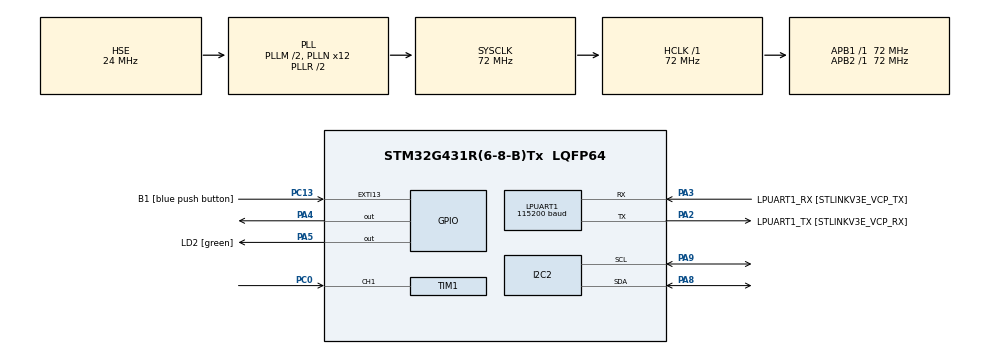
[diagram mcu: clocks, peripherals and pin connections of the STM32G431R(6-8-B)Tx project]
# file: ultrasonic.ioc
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I2C2.Timing=0x10808DD3
LPUART1.BaudRate=115200
LPUART1.WordLength=UART_WORDLENGTH_8B
Mcu.Family=STM32G4
Mcu.Name=STM32G431R(6-8-B)Tx
Mcu.Package=LQFP64
NVIC.PriorityGroup=NVIC_PRIORITYGROUP_4
NVIC.TIM1_CC_IRQn=true\:0\:0\:false\:false\:true\:true\:true\:true
PA10.Signal=I2C2_SMBA
PA13.GPIO_Label=T_SWDIO
PA13.Mode=Serial_Wire
PA13.Signal=SYS_JTMS-SWDIO
PA14.GPIO_Label=T_SWCLK
PA14.Mode=Serial_Wire
PA14.Signal=SYS_JTCK-SWCLK
PA2.GPIO_Label=LPUART1_TX [STLINKV3E_VCP_RX]
PA2.Mode=Asynchronous
PA2.Signal=LPUART1_TX
PA3.GPIO_Label=LPUART1_RX [STLINKV3E_VCP_TX]
PA3.Mode=Asynchronous
PA3.Signal=LPUART1_RX
PA4.Signal=GPIO_Output
PA5.GPIO_Label=LD2 [green]
PA5.Signal=GPIO_Output
PA8.Mode=I2C
PA8.Signal=I2C2_SDA
PA9.Mode=I2C
PA9.Signal=I2C2_SCL
PB3.GPIO_Label=T_SWO
PB3.Signal=SYS_JTDO-SWO
PC0.Signal=S_TIM1_CH1
PC13.GPIO_Label=B1 [blue push button]
PC13.Signal=GPXTI13
PC14-OSC32_IN.Mode=LSE-External-Oscillator
PC14-OSC32_IN.Signal=RCC_OSC32_IN
PC15-OSC32_OUT.Mode=LSE-External-Oscillator
PC15-OSC32_OUT.Signal=RCC_OSC32_OUT
PF0-OSC_IN.Mode=HSE-External-Oscillator
PF0-OSC_IN.Signal=RCC_OSC_IN
PF1-OSC_OUT.Mode=HSE-External-Oscillator
PF1-OSC_OUT.Signal=RCC_OSC_OUT
ProjectManager.HeapSize=0x200
ProjectManager.StackSize=0x400
ProjectManager.TargetToolchain=STM32CubeIDE
RCC.ADC12Freq_Value=72000000
RCC.AHBFreq_Value=72000000
RCC.APB1Freq_Value=72000000
RCC.APB1TimFreq_Value=72000000
RCC.APB2Freq_Value=72000000
RCC.APB2TimFreq_Value=72000000
RCC.CortexFreq_Value=72000000
RCC.EXTERNAL_CLOCK_VALUE=12288000
RCC.HCLKFreq_Value=72000000
RCC.HSE_VALUE=24000000
RCC.HSI48_VALUE=48000000
RCC.HSI_VALUE=16000000
RCC.PLLM=RCC_PLLM_DIV2
RCC.PLLN=12
RCC.PLLSourceVirtual=RCC_PLLSOURCE_HSE
RCC.RTCClockSelection=RCC_RTCCLKSOURCE_LSE
RCC.SYSCLKFreq_VALUE=72000000
RCC.SYSCLKSource=RCC_SYSCLKSOURCE_PLLCLK
RCC.USBFreq_Value=72000000
RCC.VCOOutputFreq_Value=144000000
SH.S_TIM1_CH1.0=TIM1_CH1,Input_Capture1_from_TI1
TIM1.Channel-Input_Capture1_from_TI1=TIM_CHANNEL_1
TIM1.Prescaler=71
VP_SYS_VS_DBSignals.Mode=DisableDeadBatterySignals
VP_TIM1_VS_ClockSourceINT.Mode=Internal
board=NUCLEO-G431RB

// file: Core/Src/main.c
/* USER CODE BEGIN Header */
/**
  ******************************************************************************
  * @file           : main.c
  * @brief          : Main program body
  ******************************************************************************
  * @attention
  *
  * Copyright (c) 2024 STMicroelectronics.
  * All rights reserved.
  *
  * This software is licensed under terms that can be found in the LICENSE file
  * in the root directory of this software component.
  * If no LICENSE file comes with this software, it is provided AS-IS.
  *
  ******************************************************************************
  */
/* USER CODE END Header */
#include "main.h"

I2C_HandleTypeDef hi2c2;

UART_HandleTypeDef hlpuart1;

TIM_HandleTypeDef htim1;

void SystemClock_Config(void);
static void MX_GPIO_Init(void);
static void MX_LPUART1_UART_Init(void);
static void MX_TIM1_Init(void);
static void MX_I2C2_Init(void);
/* USER CODE BEGIN PFP */
void delay (uint16_t time)
{
	__HAL_TIM_SET_COUNTER(&htim1, 0);
	while (__HAL_TIM_GET_COUNTER (&htim1) < time);
}

uint32_t IC_Val1 = 0;
uint32_t IC_Val2 = 0;
uint32_t Difference = 0;
uint8_t Is_First_Captured = 0;  // is the first value captured ?
uint8_t Distance  = 0;

#define TRIG_PIN GPIO_PIN_4
#define TRIG_PORT GPIOA

// Let's write the callback function

void HAL_TIM_IC_CaptureCallback(TIM_HandleTypeDef *htim)
{
	if (htim->Channel == HAL_TIM_ACTIVE_CHANNEL_1)  // if the interrupt source is channel1
	{
		if (Is_First_Captured==0) // if the first value is not captured
		{
			IC_Val1 = HAL_TIM_ReadCapturedValue(htim, TIM_CHANNEL_1); // read the first value
			Is_First_Captured = 1;  // set the first captured as true
			// Now change the polarity to falling edge
			__HAL_TIM_SET_CAPTUREPOLARITY(htim, TIM_CHANNEL_1, TIM_INPUTCHANNELPOLARITY_FALLING);
		}

		else if (Is_First_Captured==1)   // if the first is already captured
		{
			IC_Val2 = HAL_TIM_ReadCapturedValue(htim, TIM_CHANNEL_1);  // read second value
			__HAL_TIM_SET_COUNTER(htim, 0);  // reset the counter

			if (IC_Val2 > IC_Val1)
			{
				Difference = IC_Val2-IC_Val1;
			}

			else if (IC_Val1 > IC_Val2)
			{
				Difference = (0xffff - IC_Val1) + IC_Val2;
			}

			Distance = Difference * .034/2;
			Is_First_Captured = 0; // set it back to false

			// set polarity to rising edge
			__HAL_TIM_SET_CAPTUREPOLARITY(htim, TIM_CHANNEL_1, TIM_INPUTCHANNELPOLARITY_RISING);
			__HAL_TIM_DISABLE_IT(&htim1, TIM_IT_CC1);
		}
	}
}

void HCSR04_Read (void)
{
	HAL_GPIO_WritePin(TRIG_PORT, TRIG_PIN, GPIO_PIN_SET);  // pull the TRIG pin HIGH
	delay(10);  // wait for 10 us
	HAL_GPIO_WritePin(TRIG_PORT, TRIG_PIN, GPIO_PIN_RESET);  // pull the TRIG pin low

	__HAL_TIM_ENABLE_IT(&htim1, TIM_IT_CC1);
}

/* USER CODE END PFP */

int main(void)
{

  /* MCU Configuration--------------------------------------------------------*/

  /* Reset of all peripherals, Initializes the Flash interface and the Systick. */
  HAL_Init();

  /* Configure the system clock */
  SystemClock_Config();

  /* Initialize all configured peripherals */
  MX_GPIO_Init();
  MX_LPUART1_UART_Init();
  MX_TIM1_Init();
  MX_I2C2_Init();
  /* USER CODE BEGIN 2 */
  lcd_init();
   HAL_TIM_IC_Start_IT(&htim1, TIM_CHANNEL_1);

   lcd_send_string ("Dist= ");

  /* USER CODE END 2 */

  /* Infinite loop */
  /* USER CODE BEGIN WHILE */
    while (1)
     {
    	 HCSR04_Read();

    		  lcd_send_data((Distance/100) + 48);   // 100th pos
    		lcd_send_data(((Distance/10)%10) +48);  // 10th pos
    		  lcd_send_data((Distance%10)+48);  // 1st pos
    		  lcd_send_string(" cm");
    		  HAL_Delay(2000);

    /* USER CODE END WHILE */

  }
}

void SystemClock_Config(void)
{
  RCC_OscInitTypeDef RCC_OscInitStruct = {0};
  RCC_ClkInitTypeDef RCC_ClkInitStruct = {0};

  /** Configure the main internal regulator output voltage
  */
  HAL_PWREx_ControlVoltageScaling(PWR_REGULATOR_VOLTAGE_SCALE1);

  /** Initializes the RCC Oscillators according to the specified parameters
  * in the RCC_OscInitTypeDef structure.
  */
  RCC_OscInitStruct.OscillatorType = RCC_OSCILLATORTYPE_HSE;
  RCC_OscInitStruct.HSEState = RCC_HSE_ON;
  RCC_OscInitStruct.PLL.PLLState = RCC_PLL_ON;
  RCC_OscInitStruct.PLL.PLLSource = RCC_PLLSOURCE_HSE;
  RCC_OscInitStruct.PLL.PLLM = RCC_PLLM_DIV2;
  RCC_OscInitStruct.PLL.PLLN = 12;
  RCC_OscInitStruct.PLL.PLLP = RCC_PLLP_DIV2;
  RCC_OscInitStruct.PLL.PLLQ = RCC_PLLQ_DIV2;
  RCC_OscInitStruct.PLL.PLLR = RCC_PLLR_DIV2;
  if (HAL_RCC_OscConfig(&RCC_OscInitStruct) != HAL_OK)
  {
    Error_Handler();
  }

  /** Initializes the CPU, AHB and APB buses clocks
  */
  RCC_ClkInitStruct.ClockType = RCC_CLOCKTYPE_HCLK|RCC_CLOCKTYPE_SYSCLK
                              |RCC_CLOCKTYPE_PCLK1|RCC_CLOCKTYPE_PCLK2;
  RCC_ClkInitStruct.SYSCLKSource = RCC_SYSCLKSOURCE_PLLCLK;
  RCC_ClkInitStruct.AHBCLKDivider = RCC_SYSCLK_DIV1;
  RCC_ClkInitStruct.APB1CLKDivider = RCC_HCLK_DIV1;
  RCC_ClkInitStruct.APB2CLKDivider = RCC_HCLK_DIV1;

  if (HAL_RCC_ClockConfig(&RCC_ClkInitStruct, FLASH_LATENCY_2) != HAL_OK)
  {
    Error_Handler();
  }
}

static void MX_I2C2_Init(void)
{

  hi2c2.Instance = I2C2;
  hi2c2.Init.Timing = 0x10808DD3;
  hi2c2.Init.OwnAddress1 = 0;
  hi2c2.Init.AddressingMode = I2C_ADDRESSINGMODE_7BIT;
  hi2c2.Init.DualAddressMode = I2C_DUALADDRESS_DISABLE;
  hi2c2.Init.OwnAddress2 = 0;
  hi2c2.Init.OwnAddress2Masks = I2C_OA2_NOMASK;
  hi2c2.Init.GeneralCallMode = I2C_GENERALCALL_DISABLE;
  hi2c2.Init.NoStretchMode = I2C_NOSTRETCH_DISABLE;
  if (HAL_I2C_Init(&hi2c2) != HAL_OK)
  {
    Error_Handler();
  }

  /** Configure Analogue filter
  */
  if (HAL_I2CEx_ConfigAnalogFilter(&hi2c2, I2C_ANALOGFILTER_ENABLE) != HAL_OK)
  {
    Error_Handler();
  }

  /** Configure Digital filter
  */
  if (HAL_I2CEx_ConfigDigitalFilter(&hi2c2, 0) != HAL_OK)
  {
    Error_Handler();
  }

}

static void MX_LPUART1_UART_Init(void)
{

  hlpuart1.Instance = LPUART1;
  hlpuart1.Init.BaudRate = 115200;
  hlpuart1.Init.WordLength = UART_WORDLENGTH_8B;
  hlpuart1.Init.StopBits = UART_STOPBITS_1;
  hlpuart1.Init.Parity = UART_PARITY_NONE;
  hlpuart1.Init.Mode = UART_MODE_TX_RX;
  hlpuart1.Init.HwFlowCtl = UART_HWCONTROL_NONE;
  hlpuart1.Init.OneBitSampling = UART_ONE_BIT_SAMPLE_DISABLE;
  hlpuart1.Init.ClockPrescaler = UART_PRESCALER_DIV1;
  hlpuart1.AdvancedInit.AdvFeatureInit = UART_ADVFEATURE_NO_INIT;
  if (HAL_UART_Init(&hlpuart1) != HAL_OK)
  {
    Error_Handler();
  }
  if (HAL_UARTEx_SetTxFifoThreshold(&hlpuart1, UART_TXFIFO_THRESHOLD_1_8) != HAL_OK)
  {
    Error_Handler();
  }
  if (HAL_UARTEx_SetRxFifoThreshold(&hlpuart1, UART_RXFIFO_THRESHOLD_1_8) != HAL_OK)
  {
    Error_Handler();
  }
  if (HAL_UARTEx_DisableFifoMode(&hlpuart1) != HAL_OK)
  {
    Error_Handler();
  }

}

static void MX_TIM1_Init(void)
{

  TIM_ClockConfigTypeDef sClockSourceConfig = {0};
  TIM_MasterConfigTypeDef sMasterConfig = {0};
  TIM_IC_InitTypeDef sConfigIC = {0};

  htim1.Instance = TIM1;
  htim1.Init.Prescaler = 71;
  htim1.Init.CounterMode = TIM_COUNTERMODE_UP;
  htim1.Init.Period = 0xffff-1;
  htim1.Init.ClockDivision = TIM_CLOCKDIVISION_DIV1;
  htim1.Init.RepetitionCounter = 0;
  htim1.Init.AutoReloadPreload = TIM_AUTORELOAD_PRELOAD_DISABLE;
  if (HAL_TIM_Base_Init(&htim1) != HAL_OK)
  {
    Error_Handler();
  }
  sClockSourceConfig.ClockSource = TIM_CLOCKSOURCE_INTERNAL;
  if (HAL_TIM_ConfigClockSource(&htim1, &sClockSourceConfig) != HAL_OK)
  {
    Error_Handler();
  }
  if (HAL_TIM_IC_Init(&htim1) != HAL_OK)
  {
    Error_Handler();
  }
  sMasterConfig.MasterOutputTrigger = TIM_TRGO_RESET;
  sMasterConfig.MasterOutputTrigger2 = TIM_TRGO2_RESET;
  sMasterConfig.MasterSlaveMode = TIM_MASTERSLAVEMODE_DISABLE;
  if (HAL_TIMEx_MasterConfigSynchronization(&htim1, &sMasterConfig) != HAL_OK)
  {
    Error_Handler();
  }
  sConfigIC.ICPolarity = TIM_INPUTCHANNELPOLARITY_RISING;
  sConfigIC.ICSelection = TIM_ICSELECTION_DIRECTTI;
  sConfigIC.ICPrescaler = TIM_ICPSC_DIV1;
  sConfigIC.ICFilter = 0;
  if (HAL_TIM_IC_ConfigChannel(&htim1, &sConfigIC, TIM_CHANNEL_1) != HAL_OK)
  {
    Error_Handler();
  }

}

static void MX_GPIO_Init(void)
{
  GPIO_InitTypeDef GPIO_InitStruct = {0};

  /* GPIO Ports Clock Enable */
  __HAL_RCC_GPIOC_CLK_ENABLE();
  __HAL_RCC_GPIOF_CLK_ENABLE();
  __HAL_RCC_GPIOA_CLK_ENABLE();
  __HAL_RCC_GPIOB_CLK_ENABLE();

  /*Configure GPIO pin Output Level */
  HAL_GPIO_WritePin(GPIOA, GPIO_PIN_4|LD2_Pin, GPIO_PIN_RESET);

  /*Configure GPIO pin : B1_Pin */
  GPIO_InitStruct.Pin = B1_Pin;
  GPIO_InitStruct.Mode = GPIO_MODE_IT_RISING;
  GPIO_InitStruct.Pull = GPIO_NOPULL;
  HAL_GPIO_Init(B1_GPIO_Port, &GPIO_InitStruct);

  /*Configure GPIO pins : PA4 LD2_Pin */
  GPIO_InitStruct.Pin = GPIO_PIN_4|LD2_Pin;
  GPIO_InitStruct.Mode = GPIO_MODE_OUTPUT_PP;
  GPIO_InitStruct.Pull = GPIO_NOPULL;
  GPIO_InitStruct.Speed = GPIO_SPEED_FREQ_LOW;
  HAL_GPIO_Init(GPIOA, &GPIO_InitStruct);

}

void Error_Handler(void)
{
}
